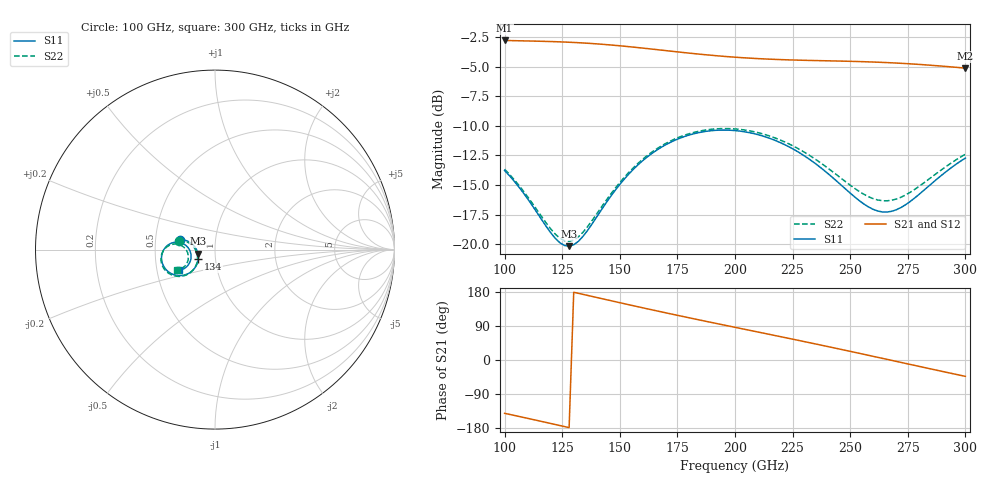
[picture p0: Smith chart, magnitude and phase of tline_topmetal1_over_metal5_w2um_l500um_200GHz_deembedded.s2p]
! Created with skrf 2.2.0 (http://scikit-rf.org).
# GHz S DB R 50.0
! Port[1] = P1
! Port[2] = P2
!freq dBS11 angS11 dBS21 angS21 dBS12 angS12 dBS22 angS22
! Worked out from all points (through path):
!   101 points, 100 GHz to 300 GHz, reference 50 ohm
!   highest |S21| = -2.80 dB at 100 GHz (marker M1); lowest = -5.1 dB at 300 GHz (marker M2)
!   group delay of S21, straight-line fit = 3.62 ps
!   lowest |S11| = -20.2 dB at 128 GHz (marker M3), VSWR 1.22, Z = 41.3 - j1.93 ohm
!   |S11| at or under -10 dB: start of sweep to end of sweep
!   |S22| runs from -19.8 to -10.2 dB; largest |S21 - S12| = 9.9e-14
!   S11 on the Smith chart (normalised r, x): 100 GHz: 0.67, +0.08; 134 GHz: 0.82, -0.09; 300 GHz: 0.65, -0.16
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100  -13.78 164.5  -2.80 -140.7  -2.80 -140.7  -13.67 166.1
114  -17.32 165.1  -2.86 -159.3  -2.86 -159.3  -17.10 167.1
122  -19.51 177.3  -2.90 -170.2  -2.90 -170.2  -19.16 179.1
128  -20.17 -166.3  -2.95 -178.5  -2.95 -178.5  -19.76 -165.4
134  -19.35 -150.5  -3.01 173.2  -3.01 173.2  -19.00 -150.3
142  -17.11 -139.2  -3.11 162.2  -3.11 162.2  -16.88 -139.2
150  -14.96 -137.1  -3.25 151.2  -3.25 151.2  -14.80 -136.9
158  -13.29 -139.6  -3.40 140.4  -3.40 140.4  -13.16 -139.2
168  -11.82 -145.8  -3.61 127.1  -3.61 127.1  -11.71 -145.1
176  -11.06 -151.9  -3.78 116.6  -3.78 116.6  -10.95 -150.8
184  -10.59 -158.2  -3.94 106.4  -3.94 106.4  -10.48 -156.9
200  -10.41 -170.9  -4.21 86.3  -4.21 86.3  -10.27 -169.1
216  -11.13 177.8  -4.39 66.3  -4.39 66.3  -10.93 -179.8
224  -11.84 173.2  -4.44 56.3  -4.44 56.3  -11.59 175.9
234  -13.07 169.3  -4.49 43.6  -4.49 43.6  -12.71 172.4
246  -15.00 169.7  -4.54 28.1  -4.54 28.1  -14.43 173.0
258  -16.87 179.6  -4.61 12.3  -4.61 12.3  -16.00 -178.2
264  -17.28 -171.7  -4.65 4.3  -4.65 4.3  -16.34 -170.9
268  -17.23 -165.6  -4.69 -1.0  -4.69 -1.0  -16.29 -165.7
274  -16.68 -157.4  -4.75 -9.0  -4.75 -9.0  -15.85 -158.8
284  -15.11 -149.7  -4.88 -22.2  -4.88 -22.2  -14.53 -151.8
300  -12.73 -149.9  -5.13 -43.2  -5.13 -43.2  -12.40 -151.5
